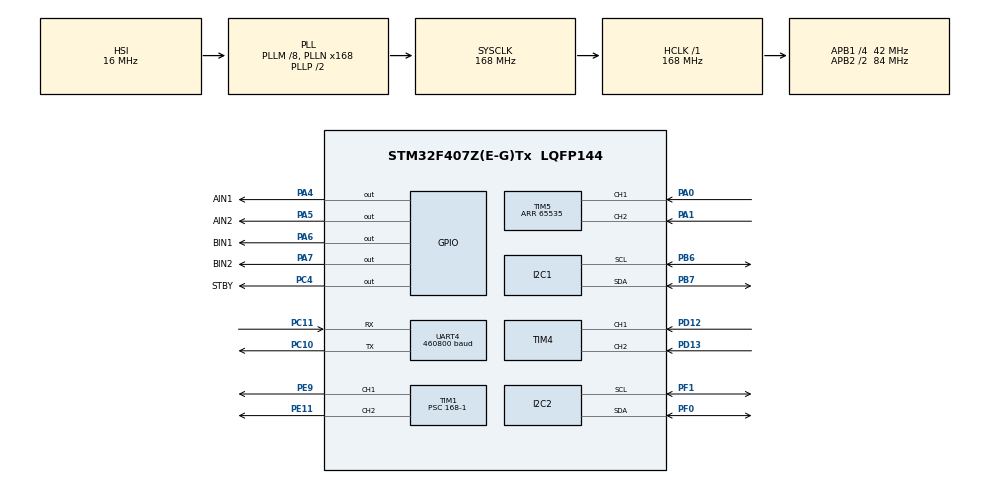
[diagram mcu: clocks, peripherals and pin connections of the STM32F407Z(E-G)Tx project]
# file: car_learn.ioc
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Dma.Request0=UART4_RX
Dma.Request1=UART4_TX
Dma.UART4_RX.0.Direction=DMA_PERIPH_TO_MEMORY
Dma.UART4_RX.0.FIFOMode=DMA_FIFOMODE_DISABLE
Dma.UART4_RX.0.Instance=DMA1_Stream2
Dma.UART4_RX.0.MemDataAlignment=DMA_MDATAALIGN_BYTE
Dma.UART4_RX.0.MemInc=DMA_MINC_ENABLE
Dma.UART4_RX.0.Mode=DMA_CIRCULAR
Dma.UART4_RX.0.PeriphDataAlignment=DMA_PDATAALIGN_BYTE
Dma.UART4_RX.0.PeriphInc=DMA_PINC_DISABLE
Dma.UART4_RX.0.Priority=DMA_PRIORITY_MEDIUM
Dma.UART4_TX.1.Direction=DMA_MEMORY_TO_PERIPH
Dma.UART4_TX.1.FIFOMode=DMA_FIFOMODE_DISABLE
Dma.UART4_TX.1.Instance=DMA1_Stream4
Dma.UART4_TX.1.MemDataAlignment=DMA_MDATAALIGN_BYTE
Dma.UART4_TX.1.MemInc=DMA_MINC_ENABLE
Dma.UART4_TX.1.Mode=DMA_CIRCULAR
Dma.UART4_TX.1.PeriphDataAlignment=DMA_PDATAALIGN_BYTE
Dma.UART4_TX.1.PeriphInc=DMA_PINC_DISABLE
Dma.UART4_TX.1.Priority=DMA_PRIORITY_MEDIUM
I2C1.I2C_Mode=I2C_Fast
I2C2.I2C_Mode=I2C_Fast
Mcu.Family=STM32F4
Mcu.Name=STM32F407Z(E-G)Tx
Mcu.Package=LQFP144
NVIC.DMA1_Stream2_IRQn=true\:0\:0\:false\:false\:true\:false\:true\:true
NVIC.DMA1_Stream4_IRQn=true\:0\:0\:false\:false\:true\:false\:true\:true
NVIC.PriorityGroup=NVIC_PRIORITYGROUP_4
NVIC.TIM2_IRQn=true\:0\:0\:false\:false\:true\:true\:true\:true
NVIC.UART4_IRQn=true\:0\:0\:false\:false\:true\:false\:true\:true
PA0-WKUP.GPIO_PuPd=GPIO_PULLUP
PA0-WKUP.Signal=S_TIM5_CH1
PA1.GPIO_PuPd=GPIO_PULLUP
PA1.Signal=S_TIM5_CH2
PA13.Mode=Serial_Wire
PA13.Signal=SYS_JTMS-SWDIO
PA14.Mode=Serial_Wire
PA14.Signal=SYS_JTCK-SWCLK
PA4.GPIO_Label=AIN1
PA4.Signal=GPIO_Output
PA5.GPIO_Label=AIN2
PA5.Signal=GPIO_Output
PA6.GPIO_Label=BIN1
PA6.Signal=GPIO_Output
PA7.GPIO_Label=BIN2
PA7.Signal=GPIO_Output
PB6.Mode=I2C
PB6.Signal=I2C1_SCL
PB7.Mode=I2C
PB7.Signal=I2C1_SDA
PC10.Mode=Asynchronous
PC10.Signal=UART4_TX
PC11.Mode=Asynchronous
PC11.Signal=UART4_RX
PC4.GPIO_Label=STBY
PC4.Signal=GPIO_Output
PD12.GPIO_PuPd=GPIO_PULLUP
PD12.Signal=S_TIM4_CH1
PD13.GPIO_PuPd=GPIO_PULLUP
PD13.Signal=S_TIM4_CH2
PE11.Signal=S_TIM1_CH2
PE9.Signal=S_TIM1_CH1
PF0.Mode=I2C
PF0.Signal=I2C2_SDA
PF1.Mode=I2C
PF1.Signal=I2C2_SCL
PH0-OSC_IN.Mode=HSE-External-Oscillator
PH0-OSC_IN.Signal=RCC_OSC_IN
PH1-OSC_OUT.Mode=HSE-External-Oscillator
PH1-OSC_OUT.Signal=RCC_OSC_OUT
ProjectManager.HeapSize=0x200
ProjectManager.StackSize=0x400
ProjectManager.TargetToolchain=CMake
RCC.48MHZClocksFreq_Value=84000000
RCC.AHBFreq_Value=168000000
RCC.APB1CLKDivider=RCC_HCLK_DIV4
RCC.APB1Freq_Value=42000000
RCC.APB1TimFreq_Value=84000000
RCC.APB2CLKDivider=RCC_HCLK_DIV2
RCC.APB2Freq_Value=84000000
RCC.APB2TimFreq_Value=168000000
RCC.CortexFreq_Value=168000000
RCC.HCLKFreq_Value=168000000
RCC.HSE_VALUE=25000000
RCC.HSI_VALUE=16000000
RCC.LSE_VALUE=32768
RCC.PLLM=8
RCC.PLLN=168
RCC.SYSCLKFreq_VALUE=168000000
RCC.SYSCLKSource=RCC_SYSCLKSOURCE_PLLCLK
RCC.VCOOutputFreq_Value=336000000
SH.S_TIM1_CH1.0=TIM1_CH1,PWM Generation1 CH1
SH.S_TIM1_CH2.0=TIM1_CH2,PWM Generation2 CH2
SH.S_TIM4_CH1.0=TIM4_CH1,Encoder_Interface
SH.S_TIM4_CH2.0=TIM4_CH2,Encoder_Interface
SH.S_TIM5_CH1.0=TIM5_CH1,Encoder_Interface
SH.S_TIM5_CH2.0=TIM5_CH2,Encoder_Interface
TIM1.Channel-PWM\ Generation1\ CH1=TIM_CHANNEL_1
TIM1.Channel-PWM\ Generation2\ CH2=TIM_CHANNEL_2
TIM1.Period=1000-1
TIM1.Prescaler=168-1
TIM2.AutoReloadPreload=TIM_AUTORELOAD_PRELOAD_ENABLE
TIM2.Period=100-1
TIM2.Prescaler=8400-1
TIM3.AutoReloadPreload=TIM_AUTORELOAD_PRELOAD_ENABLE
TIM3.Prescaler=84-1
TIM4.EncoderMode=TIM_ENCODERMODE_TI12
TIM5.EncoderMode=TIM_ENCODERMODE_TI12
TIM5.Period=65535
UART4.BaudRate=460800
UART4.VirtualMode=Asynchronous
VP_TIM1_VS_ClockSourceINT.Mode=Internal
VP_TIM2_VS_ClockSourceINT.Mode=Internal
VP_TIM3_VS_ClockSourceINT.Mode=Internal
board=custom

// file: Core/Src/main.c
/* USER CODE BEGIN Header */
/**
  ******************************************************************************
  * @file           : main.c
  * @brief          : Main program body
  ******************************************************************************
  * @attention
  *
  * Copyright (c) 2025 STMicroelectronics.
  * All rights reserved.
  *
  * This software is licensed under terms that can be found in the LICENSE file
  * in the root directory of this software component.
  * If no LICENSE file comes with this software, it is provided AS-IS.
  *
  ******************************************************************************
  */
/* USER CODE END Header */
#include "main.h"
#include "dma.h"
#include "i2c.h"
#include "tim.h"
#include "usart.h"
#include "gpio.h"

/* USER CODE BEGIN Includes */
#include <stdio.h>
#include <string.h>

#include "Motor.h"
#include "MG513.h"
#include "pid.h"

#include "motion/motion_types.h"
#include "mpu6500/mpu6500_fun.h"
/* USER CODE END Includes */

/* USER CODE BEGIN PV */
PID_Controller my_pid;
// float Kp = 59.5f;//
float Kp = 73.5f;//
float Ki = 0.0f;
// float Kd =160.8f;
float Kd =0.09;

float angle[3];
char msg[100];

float set_y_angle = -2.5f;

sensor_accel_fifo_s sensor_accel_fifo;
sensor_gyro_fifo_s sensor_gyro_fifo;
/* USER CODE END PV */

void SystemClock_Config(void);

int main(void)
{

  /* MCU Configuration--------------------------------------------------------*/

  /* Reset of all peripherals, Initializes the Flash interface and the Systick. */
  HAL_Init();

  /* USER CODE BEGIN Init */
  __HAL_RCC_HSI_ENABLE();
  __HAL_RCC_SYSCLK_CONFIG(RCC_SYSCLKSOURCE_HSI);

  /* USER CODE END Init */

  /* Configure the system clock */
  SystemClock_Config();

  /* Initialize all configured peripherals */
  MX_GPIO_Init();
  MX_DMA_Init();
  MX_TIM4_Init();
  MX_UART4_Init();
  MX_TIM1_Init();
  MX_TIM5_Init();
  MX_TIM2_Init();
  MX_I2C1_Init();
  MX_I2C2_Init();
  MX_TIM3_Init();
  /* USER CODE BEGIN 2 */
    Motor_Init();
    MG513_Init();
    HAL_TIM_Base_Start(&htim3);

    mpu6500_init(&hi2c2, &htim3, &sensor_accel_fifo, &sensor_gyro_fifo);

    mpu6500_run();
    mpu6500_run();
    mpu6500_run();
    mpu6500_run();
    mpu6500_run();
    fusion_init();
    // fusion_cali(&sensor_gyro_fifo);

    PID_Init(&my_pid,Kp,Ki,Kd,set_y_angle);

    // float setpoint_b = 10.0f;
    // PID_Init(&my_pid_a, Kp, Ki, Kd, setpoint_a);
    // PID_Init(&my_pid_b, Kp, Ki, Kd, setpoint_b);
    //
    //
    //
    // if (setpoint_a >= 0)
    // {
    //   Motor_Set_Mode(0,1);
    //   Motor_Set_PWM(0,200);
    // }else
    // {
    //   Motor_Set_Mode(0,-1);
    //   Motor_Set_PWM(0,200);
    // }
    //
    // if (setpoint_b >= 0)
    // {
    //   Motor_Set_Mode(1,1);
    //   Motor_Set_PWM(1,200);
    // }else
    // {
    //   Motor_Set_Mode(1,-1);
    //   Motor_Set_PWM(1,200);
    // }
    HAL_TIM_Base_Start_IT(&htim2);

  /* USER CODE END 2 */

  /* Infinite loop */
  /* USER CODE BEGIN WHILE */
  while (1)
  {

    // mpu6500_run();
    // fusion_update(&sensor_accel_fifo, &sensor_gyro_fifo, angle);
    HAL_Delay(10);

    /* USER CODE END WHILE */

  }
}

void SystemClock_Config(void)
{
  RCC_OscInitTypeDef RCC_OscInitStruct = {0};
  RCC_ClkInitTypeDef RCC_ClkInitStruct = {0};

  /** Configure the main internal regulator output voltage
  */
  __HAL_RCC_PWR_CLK_ENABLE();
  __HAL_PWR_VOLTAGESCALING_CONFIG(PWR_REGULATOR_VOLTAGE_SCALE1);

  /** Initializes the RCC Oscillators according to the specified parameters
  * in the RCC_OscInitTypeDef structure.
  */
  RCC_OscInitStruct.OscillatorType = RCC_OSCILLATORTYPE_HSI;
  RCC_OscInitStruct.HSIState = RCC_HSI_ON;
  RCC_OscInitStruct.HSICalibrationValue = RCC_HSICALIBRATION_DEFAULT;
  RCC_OscInitStruct.PLL.PLLState = RCC_PLL_ON;
  RCC_OscInitStruct.PLL.PLLSource = RCC_PLLSOURCE_HSI;
  RCC_OscInitStruct.PLL.PLLM = 8;
  RCC_OscInitStruct.PLL.PLLN = 168;
  RCC_OscInitStruct.PLL.PLLP = RCC_PLLP_DIV2;
  RCC_OscInitStruct.PLL.PLLQ = 4;
  if (HAL_RCC_OscConfig(&RCC_OscInitStruct) != HAL_OK)
  {
    Error_Handler();
  }

  /** Initializes the CPU, AHB and APB buses clocks
  */
  RCC_ClkInitStruct.ClockType = RCC_CLOCKTYPE_HCLK|RCC_CLOCKTYPE_SYSCLK
                              |RCC_CLOCKTYPE_PCLK1|RCC_CLOCKTYPE_PCLK2;
  RCC_ClkInitStruct.SYSCLKSource = RCC_SYSCLKSOURCE_PLLCLK;
  RCC_ClkInitStruct.AHBCLKDivider = RCC_SYSCLK_DIV1;
  RCC_ClkInitStruct.APB1CLKDivider = RCC_HCLK_DIV4;
  RCC_ClkInitStruct.APB2CLKDivider = RCC_HCLK_DIV2;

  if (HAL_RCC_ClockConfig(&RCC_ClkInitStruct, FLASH_LATENCY_5) != HAL_OK)
  {
    Error_Handler();
  }
}

/* USER CODE BEGIN 4 */

char *Float2String(float value)
{
  char* str = (char*)malloc(10);
  int Head = (int)value;
  int Point = abs((int)((value - Head)*10.0));
  sprintf(str, "%d.%d", Head, Point);

  return str;
}

void HAL_TIM_PeriodElapsedCallback(TIM_HandleTypeDef *htim)
{
  if (htim == &htim2)
  {

    mpu6500_run();
    fusion_update(&sensor_accel_fifo, &sensor_gyro_fifo, angle);

    float pwm_stand_up =  PID_Stand_UP(&my_pid, angle[1], sensor_gyro_fifo.y[0]);
    // sprintf(msg ,"Angle Y : %s,pwm_stand_up : %s \n", Float2String(angle[1]), Float2String(pwm_stand_up));
    // sprintf(msg ,"%s,%s,%d\n", Float2String(angle[1]), Float2String(sensor_gyro_fifo.y[0]), (int)pwm_stand_up);
    sprintf(msg ,"%d,%d,%d\n", (int)(angle[1]*10), (int)(sensor_gyro_fifo.y[0]), (int)pwm_stand_up);
    HAL_UART_Transmit_IT(&huart4, (uint8_t *)msg, strlen(msg));
    Motor_Set_PWM(0,(int)pwm_stand_up);
    Motor_Set_PWM(1,(int)pwm_stand_up);

  }
}

void my_delay(int t)
{
  while (t >= 0)
  {
    t--;
  }
}

void HAL_UART_TxCpltCallback(UART_HandleTypeDef *huart)
{
  if (huart->Instance == USART1)
  {

  }
}

/* USER CODE END 4 */

void Error_Handler(void)
{
  __disable_irq();
  while (1)
  {
  }
}
